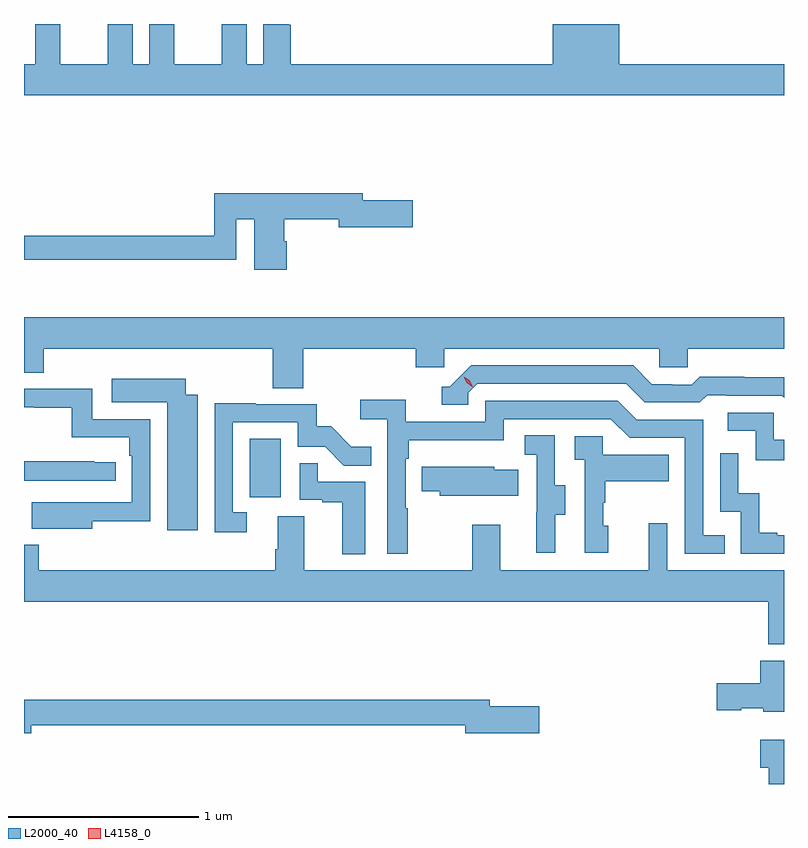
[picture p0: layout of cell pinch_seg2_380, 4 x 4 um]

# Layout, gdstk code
import gdstk
lib = gdstk.Library(unit=1e-6, precision=1e-09)
def R(c, l, rs):  # rectangles x0, y0, x1, y1
    for r in rs: c.add(gdstk.rectangle(r[:2], r[2:], *l))
def P(c, l, *ps):  # polygons
    for p in ps: c.add(gdstk.Polygon(p, *l))
L2000_40 = (2000, 40)
L4158_0 = (4158, 0)

pinch_seg2_380 = lib.new_cell('pinch_seg2_380')
R(pinch_seg2_380, L2000_40, [(998.708,620.214,998.872,620.521)])
P(pinch_seg2_380, L2000_40, [(1001.52,622.492),(1000.654,622.492),(1000.654,622.704),(1000.304,622.704),(1000.304,622.492),(998.924,622.492),(998.924,622.7),(998.914,622.7),(998.914,622.704),(998.78,622.704),(998.78,622.492),(998.692,622.492),(998.692,622.704),(998.562,622.704),(998.562,622.7),(998.561,622.7),(998.561,622.492),(998.311,622.492),(998.311,622.7),(998.31,622.7),(998.31,622.704),(998.18,622.704),(998.18,622.492),(998.092,622.492),(998.092,622.704),(997.962,622.704),(997.962,622.7),(997.961,622.7),(997.961,622.492),(997.711,622.492),(997.711,622.7),(997.71,622.7),(997.71,622.704),(997.58,622.704),(997.58,622.492),(997.52,622.492),(997.52,622.328),(1001.52,622.328)],
  [(998.903,621.561),(998.89,621.561),(998.89,621.676),(999.176,621.676),(999.176,621.634),(999.565,621.634),(999.565,621.776),(999.304,621.776),(999.304,621.812),(998.521,621.812),(998.521,621.59),(997.52,621.59),(997.52,621.462),(998.637,621.462),(998.637,621.676),(998.732,621.676),(998.732,621.411),(998.903,621.411)],
  [(998.99,620.996),(999.581,620.996),(999.581,620.898),(999.732,620.898),(999.732,620.996),(1000.863,620.996),(1000.863,620.898),(1001.013,620.898),(1001.013,620.996),(1001.52,620.996),(1001.52,621.16),(997.52,621.16),(997.52,620.869),(997.625,620.869),(997.625,620.996),(998.83,620.996),(998.83,620.788),(998.99,620.788)],
  [(999.858,620.763),(999.906,620.811),(1000.689,620.811),(1000.788,620.712),(1001.077,620.712),(1001.116,620.751),(1001.215,620.751),(1001.215,620.748),(1001.508,620.748),(1001.52,620.736),(1001.52,620.845),(1001.31,620.845),(1001.31,620.848),(1001.077,620.848),(1001.035,620.805),(1000.932,620.805),(1000.932,620.808),(1000.825,620.808),(1000.726,620.907),(999.873,620.907),(999.762,620.796),(999.719,620.796),(999.719,620.7),(999.858,620.7)],
  [(998.434,620.752),(998.37,620.752),(998.37,620.836),(997.983,620.836),(997.983,620.714),(998.273,620.714),(998.273,620.04),(998.434,620.04)],
  [(997.879,620.086),(998.184,620.086),(998.184,620.625),(997.878,620.625),(997.878,620.784),(997.52,620.784),(997.52,620.688),(997.573,620.688),(997.573,620.683),(997.77,620.683),(997.77,620.528),(998.075,620.528),(998.075,620.432),(998.088,620.432),(998.088,620.187),(997.775,620.187),(997.775,620.188),(997.561,620.188),(997.561,620.048),(997.879,620.048)],
  [(999.541,620.156),(999.528,620.156),(999.528,620.417),(999.545,620.417),(999.545,620.513),(1000.044,620.513),(1000.044,620.625),(1000.608,620.625),(1000.707,620.526),(1000.998,620.526),(1000.998,619.917),(1001.207,619.917),(1001.207,620.013),(1001.094,620.013),(1001.094,620.622),(1000.744,620.622),(1000.645,620.721),(999.948,620.721),(999.948,620.61),(999.53,620.61),(999.53,620.726),(999.291,620.726),(999.291,620.624),(999.432,620.624),(999.432,619.917),(999.541,619.917)],
  [(998.692,620.133),(998.619,620.133),(998.619,620.607),(998.961,620.607),(998.961,620.478),(999.106,620.478),(999.204,620.38),(999.347,620.38),(999.347,620.479),(999.243,620.479),(999.136,620.586),(999.06,620.586),(999.06,620.703),(998.741,620.703),(998.741,620.708),(998.523,620.708),(998.523,620.028),(998.692,620.028)],
  [(1001.52,620.517),(1001.466,620.517),(1001.466,620.658),(1001.223,620.658),(1001.223,620.562),(1001.37,620.562),(1001.37,620.409),(1001.52,620.409)],
  [(1000.315,620.122),(1000.369,620.122),(1000.369,620.277),(1000.314,620.277),(1000.314,620.54),(1000.155,620.54),(1000.155,620.437),(1000.218,620.437),(1000.218,620.133),(1000.217,620.133),(1000.217,619.92),(1000.315,619.92)],
  [(1000.594,620.064),(1000.569,620.064),(1000.569,620.183),(1000.579,620.183),(1000.579,620.297),(1000.913,620.297),(1000.913,620.437),(1000.566,620.437),(1000.566,620.535),(1000.419,620.535),(1000.419,620.411),(1000.47,620.411),(1000.47,619.92),(1000.594,619.92)],
  [(1001.52,620.013),(1001.485,620.013),(1001.485,620.026),(1001.39,620.026),(1001.39,620.234),(1001.28,620.234),(1001.28,620.446),(1001.184,620.446),(1001.184,620.136),(1001.292,620.136),(1001.292,619.917),(1001.52,619.917)],
  [(998.002,620.397),(997.889,620.397),(997.889,620.402),(997.52,620.402),(997.52,620.301),(998.002,620.301)],
  [(999.316,620.295),(999.065,620.295),(999.065,620.393),(998.97,620.393),(998.97,620.199),(999.091,620.199),(999.091,620.187),(999.194,620.187),(999.194,619.913),(999.316,619.913)],
  [(1000.121,620.359),(999.996,620.359),(999.996,620.374),(999.724,620.374),(999.724,620.373),(999.613,620.373),(999.613,620.245),(999.707,620.245),(999.707,620.222),(1000.121,620.222)],
  [(1001.52,619.828),(1000.905,619.828),(1000.905,620.077),(1000.808,620.077),(1000.808,619.828),(1000.027,619.828),(1000.027,620.068),(999.88,620.068),(999.88,619.828),(998.995,619.828),(998.995,620.114),(998.855,620.114),(998.855,619.94),(998.843,619.94),(998.843,619.828),(997.598,619.828),(997.598,619.963),(997.52,619.963),(997.52,619.664),(1001.437,619.664),(1001.437,619.439),(1001.52,619.439)],
  [(1001.52,619.354),(1001.396,619.354),(1001.396,619.233),(1001.166,619.233),(1001.166,619.091),(1001.295,619.091),(1001.295,619.103),(1001.412,619.103),(1001.412,619.085),(1001.52,619.085)],
  [(997.558,619.012),(999.842,619.012),(999.842,618.97),(1000.231,618.97),(1000.231,619.112),(999.97,619.112),(999.97,619.148),(997.52,619.148),(997.52,618.97),(997.558,618.97)],
  [(1001.52,618.937),(1001.396,618.937),(1001.396,618.79),(1001.44,618.79),(1001.44,618.704),(1001.52,618.704)])
P(pinch_seg2_380, L4158_0, [(999.88,620.796),(999.85,620.815),(999.834,620.848),(999.834,620.848),(999.834,620.848),(999.864,620.828),(999.881,620.796),(999.881,620.796)])

lib.write_gds('pinch_seg2_380.gds')
